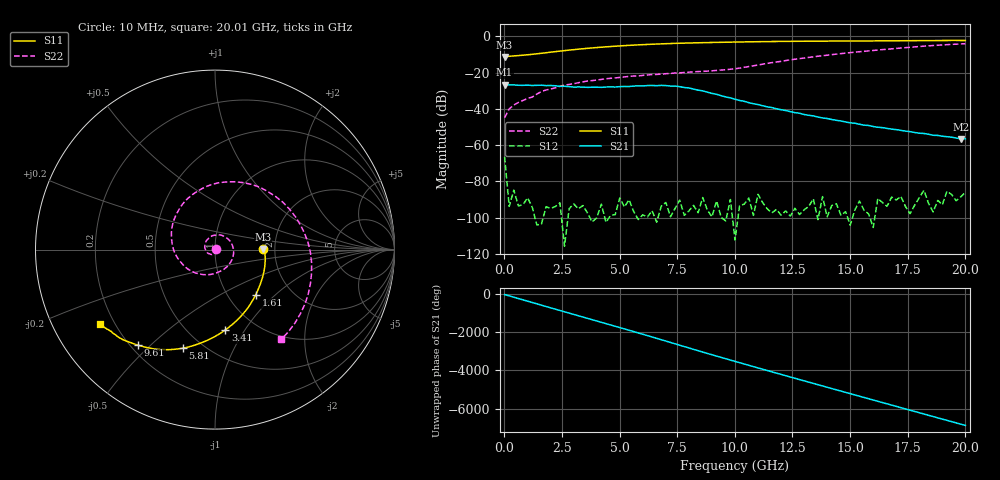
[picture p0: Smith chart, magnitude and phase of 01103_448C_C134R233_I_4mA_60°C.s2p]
!;Filter: kein Filter
!auto
!3/21/2019 9:25:24 AM
!3/21/2019 9:25:40 AM
!SP-Measurements Prober G4
!SP-Measurements Prober G4
!01103_448C
!134
!233
!12
!60
!-20
!0.00399976
!1.88
!0.54220246
!0.54220246
# Hz S  RI  R 50
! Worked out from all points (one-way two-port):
!   101 points, 10 MHz to 20.01 GHz, reference 50 ohm
!   highest |S21| = -26.67 dB at 10 MHz (marker M1); lowest = -56.6 dB at 19.81 GHz (marker M2)
!   lowest |S11| = -11.5 dB at 10 MHz (marker M3), VSWR 1.73, Z = 86.5 + j0.52 ohm
!   |S11| at or under -10 dB: start of sweep to 1.187 GHz
!   |S22| runs from -44.9 to -4.1 dB; largest |S21 - S12| = 0.046
!   S11 on the Smith chart (normalised r, x): 10 MHz: 1.73, +0.01; 1.61 GHz: 1.34, -0.76; 3.41 GHz: 0.73, -0.82; 5.81 GHz: 0.39, -0.65; 9.61 GHz: 0.23, -0.46; 20.01 GHz: 0.15, -0.29
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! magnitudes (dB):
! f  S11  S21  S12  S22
! 10 MHz  -11.5  -26.7  -66.4  -44.9
! 210 MHz  -11.0  -26.9  -93.7  -40.0
! 410 MHz  -10.9  -26.8  -84.8  -37.9
! 610 MHz  -10.7  -27.0  -93.5  -36.5
! 1.21 GHz  -10.0  -27.1  -94.2  -33.5
! 1.61 GHz  -9.4  -27.0  -103.5  -30.4
! 2.61 GHz  -7.9  -27.6  -115.7  -26.9
! 3.41 GHz  -6.9  -28.0  -93.3  -25.1
! 4.81 GHz  -5.5  -28.0  -98.3  -23.0
! 5.81 GHz  -4.8  -27.4  -101.0  -21.9
! 6.81 GHz  -4.2  -27.1  -93.6  -20.9
! 7.41 GHz  -4.0  -27.5  -94.8  -20.3
! 8.01 GHz  -3.7  -28.5  -96.2  -19.8
! 8.61 GHz  -3.6  -30.1  -88.9  -19.4
! 9.61 GHz  -3.3  -33.4  -101.8  -18.4
! 10.01 GHz  -3.2  -34.7  -112.3  -17.9
! 11.41 GHz  -3.0  -38.9  -95.1  -15.0
! 13.41 GHz  -2.7  -43.9  -89.6  -11.3
! 15.01 GHz  -2.7  -47.7  -104.1  -9.1
! 16.81 GHz  -2.5  -51.2  -88.6  -7.0
! 19.81 GHz  -2.4  -56.6  -88.5  -4.3
! 20.01 GHz  -2.4  -56.5  -85.9  -4.1
